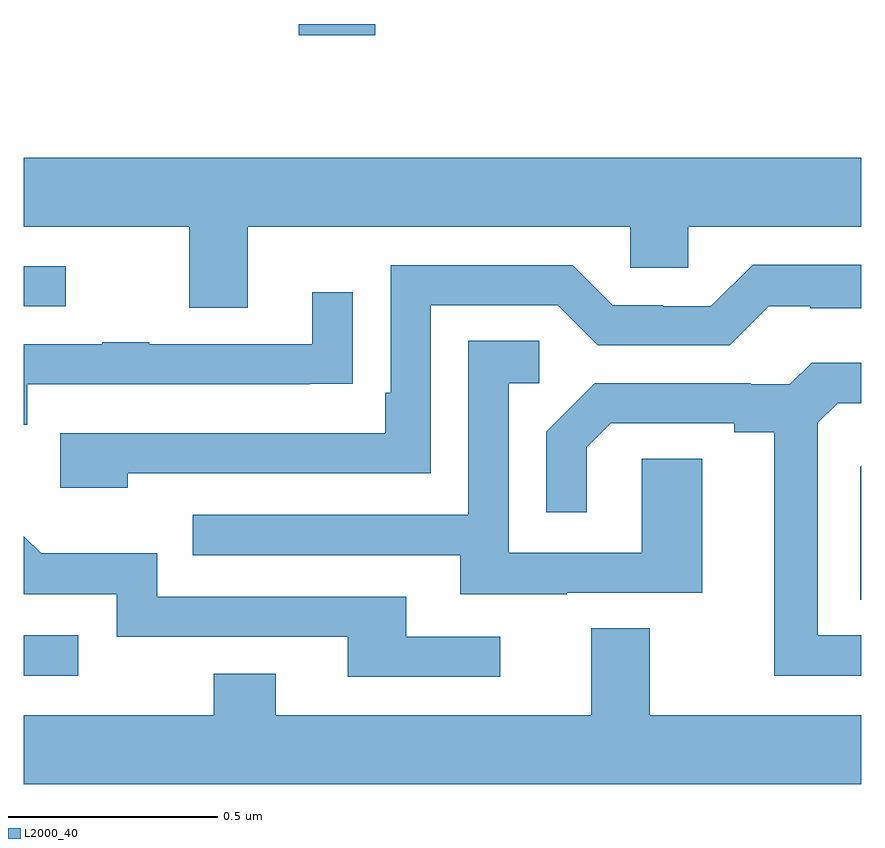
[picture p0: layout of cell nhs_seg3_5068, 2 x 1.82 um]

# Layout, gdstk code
import gdstk
lib = gdstk.Library(unit=1e-6, precision=1e-09)
def R(c, l, rs):  # rectangles x0, y0, x1, y1
    for r in rs: c.add(gdstk.rectangle(r[:2], r[2:], *l))
def P(c, l, *ps):  # polygons
    for p in ps: c.add(gdstk.Polygon(p, *l))
L2000_40 = (2000, 40)

nhs_seg3_5068 = lib.new_cell('nhs_seg3_5068')
R(nhs_seg3_5068, L2000_40, [(174,699.843,174.13,699.939), (174,700.725,174.1,700.821), (174.656,701.373,174.839,701.4)])
P(nhs_seg3_5068, L2000_40, [(174.535,700.916),(175.449,700.916),(175.449,700.818),(175.587,700.818),(175.587,700.916),(176,700.916),(176,701.08),(174,701.08),(174,700.916),(174.395,700.916),(174.395,700.722),(174.535,700.722)],
  [(174.248,700.326),(174.972,700.326),(174.972,700.728),(175.275,700.728),(175.371,700.632),(175.686,700.632),(175.779,700.725),(175.879,700.725),(175.879,700.721),(176,700.721),(176,700.825),(175.741,700.825),(175.641,700.725),(175.526,700.725),(175.526,700.728),(175.407,700.728),(175.311,700.824),(174.876,700.824),(174.876,700.519),(174.863,700.519),(174.863,700.422),(174.087,700.422),(174.087,700.292),(174.248,700.292)],
  [(174.008,700.539),(174.683,700.539),(174.683,700.54),(174.785,700.54),(174.785,700.759),(174.689,700.759),(174.689,700.635),(174.299,700.635),(174.299,700.64),(174.187,700.64),(174.187,700.635),(174,700.635),(174,700.442),(174.008,700.442)],
  [(175.297,700.041),(175.621,700.041),(175.621,700.361),(175.476,700.361),(175.476,700.137),(175.158,700.137),(175.158,700.542),(175.231,700.542),(175.231,700.643),(175.062,700.643),(175.062,700.227),(174.403,700.227),(174.403,700.131),(175.043,700.131),(175.043,700.037),(175.297,700.037)],
  [(176,699.939),(175.897,699.939),(175.897,700.447),(175.944,700.494),(176,700.494),(176,700.591),(175.882,700.591),(175.83,700.539),(175.736,700.539),(175.736,700.542),(175.364,700.542),(175.248,700.426),(175.248,700.233),(175.345,700.233),(175.345,700.389),(175.402,700.446),(175.697,700.446),(175.697,700.424),(175.793,700.424),(175.793,699.843),(176,699.843)],
  [(176,700.344),(175.998,700.342),(175.998,700.024),(176,700.024)],
  [(175.138,699.936),(174.913,699.936),(174.913,700.032),(174.318,700.032),(174.318,700.135),(174.041,700.135),(174,700.176),(174,700.038),(174.222,700.038),(174.222,699.936),(174.773,699.936),(174.773,699.84),(175.138,699.84)],
  [(176,699.748),(175.495,699.748),(175.495,699.956),(175.355,699.956),(175.355,699.748),(174.601,699.748),(174.601,699.847),(174.454,699.847),(174.454,699.748),(174,699.748),(174,699.584),(176,699.584)])

lib.write_gds('nhs_seg3_5068.gds')
